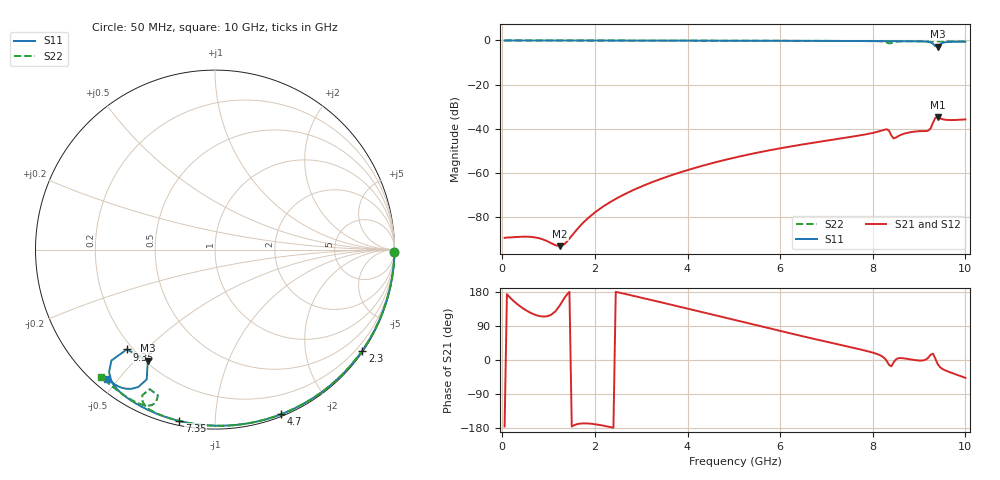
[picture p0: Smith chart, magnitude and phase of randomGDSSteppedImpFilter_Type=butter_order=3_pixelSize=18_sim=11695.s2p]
! freq	dB(S11)	phase(S11)	dB(S12)	phase(S12)
!  dB(S21)	phase(S21)	dB(S22)	phase(S22)
!S-par simulation data
#  GHz  S  DB  R 50
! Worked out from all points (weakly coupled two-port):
!   200 points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, 50 MHz to 10 GHz, reference 50 ohm
!   highest |S21| = -34.85 dB at 9.4 GHz (marker M1); lowest = -93.2 dB at 1.25 GHz (marker M2)
!   lowest |S11| = -2.8 dB at 9.4 GHz (marker M3), VSWR 6.25, Z = 10.5 - j27.3 ohm
!   |S11| at or under -10 dB: nowhere
!   |S22| runs from -1.3 to 0.0 dB; largest |S21 - S12| = 0
!   S11 on the Smith chart (normalised r, x): 50 MHz: open; 2.3 GHz: 0.03, -3.23; 4.7 GHz: 0.02, -1.48; 7.35 GHz: 0.02, -0.81; 9.35 GHz: 0.18, -0.44; 10 GHz: 0.04, -0.47
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0.05  -0.00 -0.8  -89.44 -175.4  -89.44 -175.4  -0.00 -0.8
1.25  -0.02 -18.9  -93.20 145.6  -93.20 145.6  -0.02 -18.9
1.75  -0.03 -26.4  -82.52 -167.2  -82.52 -167.2  -0.03 -26.4
1.9  -0.04 -28.6  -79.63 -168.0  -79.63 -168.0  -0.04 -28.6
2.3  -0.04 -34.4  -73.61 -176.1  -73.61 -176.1  -0.04 -34.4
3.4  -0.07 -50.2  -62.91 153.1  -62.91 153.1  -0.07 -50.2
4.7  -0.10 -68.0  -54.68 115.0  -54.68 115.0  -0.10 -68.1
5.05  -0.11 -72.7  -52.92 104.7  -52.92 104.7  -0.11 -72.7
6.7  -0.18 -93.8  -46.39 56.6  -46.39 56.6  -0.18 -93.8
7.35  -0.22 -101.8  -44.27 38.6  -44.27 38.6  -0.22 -101.9
8.1  -0.27 -111.1  -41.40 15.4  -41.40 15.4  -0.32 -112.1
8.3  -0.29 -113.6  -40.24 -2.1  -40.24 -2.1  -0.85 -116.5
8.35  -0.29 -114.2  -40.85 -12.5  -40.85 -12.5  -1.33 -115.1
8.45  -0.30 -115.5  -44.37 -6.5  -44.37 -6.5  -0.78 -111.1
8.75  -0.34 -119.6  -41.84 2.9  -41.84 2.9  -0.38 -116.6
9.2  -0.66 -128.8  -40.83 6.3  -40.83 6.3  -0.39 -122.4
9.3  -1.46 -133.1  -37.29 16.8  -37.29 16.8  -0.40 -123.6
9.35  -2.59 -131.5  -35.05 4.0  -35.05 4.0  -0.40 -124.2
9.4  -2.80 -121.1  -34.85 -10.4  -34.85 -10.4  -0.40 -124.8
9.45  -1.75 -117.7  -35.28 -18.6  -35.28 -18.6  -0.41 -125.4
9.55  -0.87 -121.0  -35.87 -26.5  -35.87 -26.5  -0.41 -126.6
10  -0.56 -129.7  -35.77 -47.2  -35.77 -47.2  -0.44 -131.9
